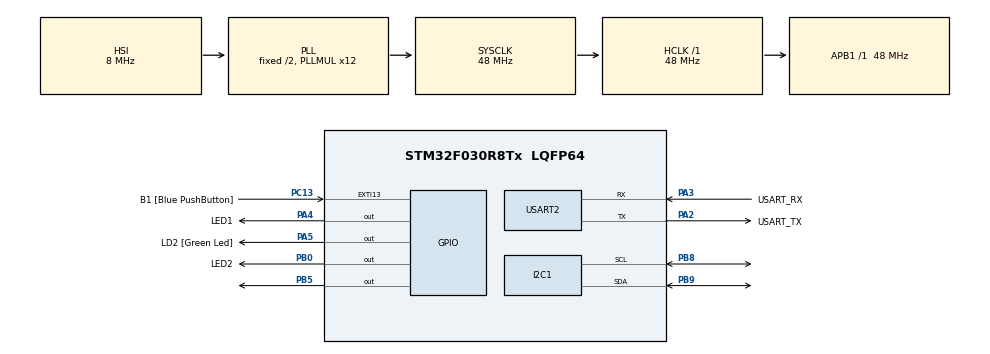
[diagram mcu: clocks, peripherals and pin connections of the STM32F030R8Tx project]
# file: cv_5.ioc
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Dma.Request0=USART2_RX
Dma.USART2_RX.0.Direction=DMA_PERIPH_TO_MEMORY
Dma.USART2_RX.0.Instance=DMA1_Channel5
Dma.USART2_RX.0.MemDataAlignment=DMA_MDATAALIGN_BYTE
Dma.USART2_RX.0.MemInc=DMA_MINC_ENABLE
Dma.USART2_RX.0.Mode=DMA_CIRCULAR
Dma.USART2_RX.0.PeriphDataAlignment=DMA_PDATAALIGN_BYTE
Dma.USART2_RX.0.PeriphInc=DMA_PINC_DISABLE
Dma.USART2_RX.0.Priority=DMA_PRIORITY_LOW
Mcu.Family=STM32F0
Mcu.Name=STM32F030R8Tx
Mcu.Package=LQFP64
NVIC.DMA1_Channel4_5_IRQn=true\:0\:0\:false\:false\:true\:false\:true\:true
PA13.GPIO_Label=TMS
PA13.Mode=Serial_Wire
PA13.Signal=SYS_SWDIO
PA14.GPIO_Label=TCK
PA14.Mode=Serial_Wire
PA14.Signal=SYS_SWCLK
PA2.GPIO_Label=USART_TX
PA2.GPIO_Mode=GPIO_MODE_AF_PP
PA2.GPIO_PuPd=GPIO_NOPULL
PA2.GPIO_Speed=GPIO_SPEED_FREQ_LOW
PA2.Mode=Asynchronous
PA2.Signal=USART2_TX
PA3.GPIO_Label=USART_RX
PA3.GPIO_Mode=GPIO_MODE_AF_PP
PA3.GPIO_PuPd=GPIO_NOPULL
PA3.GPIO_Speed=GPIO_SPEED_FREQ_LOW
PA3.Mode=Asynchronous
PA3.Signal=USART2_RX
PA4.GPIO_Label=LED1
PA4.Signal=GPIO_Output
PA5.GPIO_Label=LD2 [Green Led]
PA5.GPIO_Mode=GPIO_MODE_OUTPUT_PP
PA5.GPIO_PuPd=GPIO_NOPULL
PA5.GPIO_Speed=GPIO_SPEED_FREQ_LOW
PA5.Signal=GPIO_Output
PB0.GPIO_Label=LED2
PB0.Signal=GPIO_Output
PB5.Signal=GPIO_Output
PB8.Mode=I2C
PB8.Signal=I2C1_SCL
PB9.Mode=I2C
PB9.Signal=I2C1_SDA
PC13.GPIO_Label=B1 [Blue PushButton]
PC13.GPIO_ModeDefaultEXTI=GPIO_MODE_IT_FALLING
PC13.Signal=GPXTI13
PC14-OSC32_IN.Mode=LSE-External-Oscillator
PC14-OSC32_IN.Signal=RCC_OSC32_IN
PC15-OSC32_OUT.Mode=LSE-External-Oscillator
PC15-OSC32_OUT.Signal=RCC_OSC32_OUT
PF0-OSC_IN.Mode=HSE-External-Clock-Source
PF0-OSC_IN.Signal=RCC_OSC_IN
PF1-OSC_OUT.Signal=RCC_OSC_OUT
ProjectManager.HeapSize=0x200
ProjectManager.StackSize=0x400
ProjectManager.TargetToolchain=STM32CubeIDE
RCC.AHBFreq_Value=48000000
RCC.APB1Freq_Value=48000000
RCC.APB1TimFreq_Value=48000000
RCC.HCLKFreq_Value=48000000
RCC.PLLMUL=RCC_PLL_MUL12
RCC.SYSCLKFreq_VALUE=48000000
RCC.SYSCLKSource=RCC_SYSCLKSOURCE_PLLCLK
USART2.VirtualMode-Asynchronous=VM_ASYNC
board=NUCLEO-F030R8

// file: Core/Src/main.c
/* USER CODE BEGIN Header */
/**
  ******************************************************************************
  * @file           : main.c
  * @brief          : Main program body
  ******************************************************************************
  * @attention
  *
  * Copyright (c) 2022 STMicroelectronics.
  * All rights reserved.
  *
  * This software is licensed under terms that can be found in the LICENSE file
  * in the root directory of this software component.
  * If no LICENSE file comes with this software, it is provided AS-IS.
  *
  ******************************************************************************
  */
/* USER CODE END Header */
#include "main.h"

/* USER CODE BEGIN Includes */

#include "stdio.h" // to be able to use printf
#include "string.h" // to be able to work with strings
#include "stdlib.h" // to be able to use the function atoi()

/* USER CODE END Includes */

/* USER CODE BEGIN PD */

#define RX_BUFFER_LEN 64
#define uart_rx_write_ptr (RX_BUFFER_LEN - hdma_usart2_rx.Instance->CNDTR) // pointer pointing to the place in memory, where the last write was performed
#define CMD_BUFFER_LEN 256 // length of the support buffer
#define EEPROM_ADDR 0xA0
#define read_num_of_bytes 16
/* USER CODE END PD */

I2C_HandleTypeDef hi2c1;

UART_HandleTypeDef huart2;
DMA_HandleTypeDef hdma_usart2_rx;

/* USER CODE BEGIN PV */

static uint8_t uart_rx_buf[RX_BUFFER_LEN];
static volatile uint16_t uart_rx_read_ptr = 0; // pointer used to read data

/* USER CODE END PV */

void SystemClock_Config(void);
static void MX_GPIO_Init(void);
static void MX_DMA_Init(void);
static void MX_USART2_UART_Init(void);
static void MX_I2C1_Init(void);

/* USER CODE BEGIN 0 */

int _write(int file, char const *buf, int n) // strong function, tells the stdio library, where to print data to
{
	/* stdout redirection to UART2 */
	HAL_UART_Transmit(&huart2, (uint8_t*)(buf), n, HAL_MAX_DELAY);
	return n;
}

static void uart_process_command (char *cmd)
{
	printf("Prijato: %s\n", cmd); // sends and processes data \n is for the Termite to show us the data
	char *token;
	token = strtok(cmd, " "); // strtok -> cmd is a pointer to the beginning of the buffer, second parameter is a string with a list of words separating parameters,
						      // if it fins the parameter, it return a pointer to the word before the parameter

	if (strcasecmp(token, "HELLO") == 0) // compares a string with another string, case insensitive
	{
		printf("Komunikace OK\n");
	}
	else if (strcasecmp(token, "LED1") == 0)
	{
		token = strtok(NULL, " "); // if the first parameter is NULL, continue, where left off the last time (to return the next string before the separating parameter)
		if (strcasecmp(token, "ON") == 0) HAL_GPIO_WritePin(GPIOA, LED1_Pin, 1); // if the string says "led1 on", turn it on, if it says led1 "off", turn it off
			else if (strcasecmp(token, "OFF") == 0)
			{
				HAL_GPIO_WritePin(GPIOA, LED1_Pin, 0);
				printf("OK\n");
			}
	}
	else if (strcasecmp(token, "LED2") == 0)
	{
		token = strtok(NULL, " "); // if the first parameter is NULL, continue, where left off the last time (to return the next string before the separating parameter)
		if (strcasecmp(token, "ON") == 0) HAL_GPIO_WritePin(GPIOB, LED2_Pin, 1); // if the string says "led2 on", turn it on, if it says led2 "off", turn it off
			else if (strcasecmp(token, "OFF") == 0)
			{
				HAL_GPIO_WritePin(GPIOB, LED2_Pin, 0);
				printf("OK\n");
			}
	}
	else if (strcasecmp(token, "STATUS") == 0) // if the string says "status", return the status of both leds
	{
		if(HAL_GPIO_ReadPin(GPIOA, LED1_Pin)) printf("LED1 is turned on\n");
		else printf("LED1 is turned off\n");
		if(HAL_GPIO_ReadPin(GPIOB, LED2_Pin)) printf("LED2 is turned on\n");
		else printf("LED2 is turned off\n");
	}
	else if (strcasecmp(token, "READ") == 0) // if the first parameter is READ,
	{
		static uint16_t addr = 0;
		static uint8_t value = 0;
		token = strtok(NULL, " ");
		addr = atoi(token);

		HAL_I2C_Mem_Read(&hi2c1, EEPROM_ADDR, addr, I2C_MEMADD_SIZE_16BIT, &value, 1, 1000); // bus name, device address, memory address, memory indexing method, where to save the read data, number of bytes to read, timeout
		while (HAL_I2C_IsDeviceReady(&hi2c1, EEPROM_ADDR, 300, 1000) == HAL_TIMEOUT) {} // wait for the EEPROM operation to be completed

		printf("On position 0x%04X in memory data 0x%02X is located\n", addr, value);
	}
	else if (strcasecmp(token, "WRITE") == 0) // if the first parameter is WRITE,
	{
		static uint16_t addr = 0;
		static uint8_t value = 0;
		token = strtok(NULL, " "); // read address
		addr = atoi(token);
		token = strtok(NULL, " "); // read value to be written into the chosen address
		value = atoi(token);

		HAL_I2C_Mem_Write(&hi2c1, EEPROM_ADDR, addr, I2C_MEMADD_SIZE_16BIT, &value, 1, 1000); // bus name, device address, memory address, memory indexing method, where to save the read data, number of bytes to read, timeout
		while (HAL_I2C_IsDeviceReady(&hi2c1, EEPROM_ADDR, 300, 1000) == HAL_TIMEOUT) {} // wait for the EEPROM operation to be completed

		printf("OK\n");
	}
	else if (strcasecmp(token, "DUMP") == 0) // if the first parameter is DUMP, read the first 16 bytes of data from the EEPROM
	{
		static uint8_t value = 0;

		for(uint8_t i = 0; i < read_num_of_bytes; i++) // increments through all of the desired addresses
		{
			HAL_I2C_Mem_Read(&hi2c1, EEPROM_ADDR, i, I2C_MEMADD_SIZE_16BIT, &value, 1, 1000); // bus name, device address, memory address, memory indexing method, where to save the read data, number of bytes to read, timeout
			while (HAL_I2C_IsDeviceReady(&hi2c1, EEPROM_ADDR, 300, 1000) == HAL_TIMEOUT) {} // wait for the EEPROM operation to be completed

			if ((i + 1) % 8 == 0) printf("%02X \n", value); // separate rows after 8 bytes
			else printf("%02X ", value);
		}

	}

}

static void uart_byte_available(uint8_t c)
{
	static uint16_t cnt;
	static char data[CMD_BUFFER_LEN]; // reads data from system buffer, to make sure, the beginning of the data will be at the beginning of the buffer
	if (cnt < CMD_BUFFER_LEN && c >= 32 && c <= 126) data[cnt++] = c; // checks if we're still inside of the buffer & if the inside of the buffer is a printable character from ASCII table
	if ((c == '\n' || c == '\r') && cnt > 0) // checks if the buffer content is a new line (the second condition is for Linux - in case some idiot actually uses it)
	{
		data[cnt] = '\0'; // ends the character
		uart_process_command(data); // data processing
		cnt = 0; // write the pointer to zero
	}
}

/* USER CODE END 0 */

int main(void)
{

  /* MCU Configuration--------------------------------------------------------*/

  /* Reset of all peripherals, Initializes the Flash interface and the Systick. */
  HAL_Init();

  /* Configure the system clock */
  SystemClock_Config();

  /* Initialize all configured peripherals */
  MX_GPIO_Init();
  MX_DMA_Init();
  MX_USART2_UART_Init();
  MX_I2C1_Init();
  /* USER CODE BEGIN 2 */

  HAL_UART_Receive_DMA(&huart2, uart_rx_buf, RX_BUFFER_LEN); // activate receive buffer

  /* USER CODE END 2 */

  /* Infinite loop */
  /* USER CODE BEGIN WHILE */
  while (1)
  {

	/*uint8_t b = uart_rx_buf;
	HAL_UART_Receive(&huart2, &c, 1, HAL_MAX_DELAY); // stupid approach, permanently sits here, does nothing else
	HAL_UART_Transmit(&huart2, &c, 1, HAL_MAX_DELAY);*/
	while (uart_rx_read_ptr != uart_rx_write_ptr)
	{
		uint8_t b = uart_rx_buf[uart_rx_read_ptr];
		if (++uart_rx_read_ptr >= RX_BUFFER_LEN) uart_rx_read_ptr = 0; // increase read pointer
		uart_byte_available(b); // process every received byte with the RX state machine
	}
    /* USER CODE END WHILE */

  }
}

void SystemClock_Config(void)
{
  RCC_OscInitTypeDef RCC_OscInitStruct = {0};
  RCC_ClkInitTypeDef RCC_ClkInitStruct = {0};
  RCC_PeriphCLKInitTypeDef PeriphClkInit = {0};

  /** Initializes the RCC Oscillators according to the specified parameters
  * in the RCC_OscInitTypeDef structure.
  */
  RCC_OscInitStruct.OscillatorType = RCC_OSCILLATORTYPE_HSI;
  RCC_OscInitStruct.HSIState = RCC_HSI_ON;
  RCC_OscInitStruct.HSICalibrationValue = RCC_HSICALIBRATION_DEFAULT;
  RCC_OscInitStruct.PLL.PLLState = RCC_PLL_ON;
  RCC_OscInitStruct.PLL.PLLSource = RCC_PLLSOURCE_HSI;
  RCC_OscInitStruct.PLL.PLLMUL = RCC_PLL_MUL12;
  RCC_OscInitStruct.PLL.PREDIV = RCC_PREDIV_DIV1;
  if (HAL_RCC_OscConfig(&RCC_OscInitStruct) != HAL_OK)
  {
    Error_Handler();
  }

  /** Initializes the CPU, AHB and APB buses clocks
  */
  RCC_ClkInitStruct.ClockType = RCC_CLOCKTYPE_HCLK|RCC_CLOCKTYPE_SYSCLK
                              |RCC_CLOCKTYPE_PCLK1;
  RCC_ClkInitStruct.SYSCLKSource = RCC_SYSCLKSOURCE_PLLCLK;
  RCC_ClkInitStruct.AHBCLKDivider = RCC_SYSCLK_DIV1;
  RCC_ClkInitStruct.APB1CLKDivider = RCC_HCLK_DIV1;

  if (HAL_RCC_ClockConfig(&RCC_ClkInitStruct, FLASH_LATENCY_1) != HAL_OK)
  {
    Error_Handler();
  }
  PeriphClkInit.PeriphClockSelection = RCC_PERIPHCLK_I2C1;
  PeriphClkInit.I2c1ClockSelection = RCC_I2C1CLKSOURCE_HSI;
  if (HAL_RCCEx_PeriphCLKConfig(&PeriphClkInit) != HAL_OK)
  {
    Error_Handler();
  }
}

static void MX_I2C1_Init(void)
{

  hi2c1.Instance = I2C1;
  hi2c1.Init.Timing = 0x2000090E;
  hi2c1.Init.OwnAddress1 = 0;
  hi2c1.Init.AddressingMode = I2C_ADDRESSINGMODE_7BIT;
  hi2c1.Init.DualAddressMode = I2C_DUALADDRESS_DISABLE;
  hi2c1.Init.OwnAddress2 = 0;
  hi2c1.Init.OwnAddress2Masks = I2C_OA2_NOMASK;
  hi2c1.Init.GeneralCallMode = I2C_GENERALCALL_DISABLE;
  hi2c1.Init.NoStretchMode = I2C_NOSTRETCH_DISABLE;
  if (HAL_I2C_Init(&hi2c1) != HAL_OK)
  {
    Error_Handler();
  }

  /** Configure Analogue filter
  */
  if (HAL_I2CEx_ConfigAnalogFilter(&hi2c1, I2C_ANALOGFILTER_ENABLE) != HAL_OK)
  {
    Error_Handler();
  }

  /** Configure Digital filter
  */
  if (HAL_I2CEx_ConfigDigitalFilter(&hi2c1, 0) != HAL_OK)
  {
    Error_Handler();
  }

}

static void MX_USART2_UART_Init(void)
{

  huart2.Instance = USART2;
  huart2.Init.BaudRate = 38400;
  huart2.Init.WordLength = UART_WORDLENGTH_8B;
  huart2.Init.StopBits = UART_STOPBITS_1;
  huart2.Init.Parity = UART_PARITY_NONE;
  huart2.Init.Mode = UART_MODE_TX_RX;
  huart2.Init.HwFlowCtl = UART_HWCONTROL_NONE;
  huart2.Init.OverSampling = UART_OVERSAMPLING_16;
  huart2.Init.OneBitSampling = UART_ONE_BIT_SAMPLE_DISABLE;
  huart2.AdvancedInit.AdvFeatureInit = UART_ADVFEATURE_NO_INIT;
  if (HAL_UART_Init(&huart2) != HAL_OK)
  {
    Error_Handler();
  }

}

static void MX_DMA_Init(void)
{

  /* DMA controller clock enable */
  __HAL_RCC_DMA1_CLK_ENABLE();

  /* DMA interrupt init */
  /* DMA1_Channel4_5_IRQn interrupt configuration */
  HAL_NVIC_SetPriority(DMA1_Channel4_5_IRQn, 0, 0);
  HAL_NVIC_EnableIRQ(DMA1_Channel4_5_IRQn);

}

static void MX_GPIO_Init(void)
{
  GPIO_InitTypeDef GPIO_InitStruct = {0};

  /* GPIO Ports Clock Enable */
  __HAL_RCC_GPIOC_CLK_ENABLE();
  __HAL_RCC_GPIOF_CLK_ENABLE();
  __HAL_RCC_GPIOA_CLK_ENABLE();
  __HAL_RCC_GPIOB_CLK_ENABLE();

  /*Configure GPIO pin Output Level */
  HAL_GPIO_WritePin(GPIOA, GPIO_PIN_4|GPIO_PIN_5, GPIO_PIN_RESET);

  /*Configure GPIO pin Output Level */
  HAL_GPIO_WritePin(GPIOB, GPIO_PIN_0|GPIO_PIN_5, GPIO_PIN_RESET);

  /*Configure GPIO pin : PC13 */
  GPIO_InitStruct.Pin = GPIO_PIN_13;
  GPIO_InitStruct.Mode = GPIO_MODE_IT_FALLING;
  GPIO_InitStruct.Pull = GPIO_NOPULL;
  HAL_GPIO_Init(GPIOC, &GPIO_InitStruct);

  /*Configure GPIO pins : PA4 PA5 */
  GPIO_InitStruct.Pin = GPIO_PIN_4|GPIO_PIN_5;
  GPIO_InitStruct.Mode = GPIO_MODE_OUTPUT_PP;
  GPIO_InitStruct.Pull = GPIO_NOPULL;
  GPIO_InitStruct.Speed = GPIO_SPEED_FREQ_LOW;
  HAL_GPIO_Init(GPIOA, &GPIO_InitStruct);

  /*Configure GPIO pins : PB0 PB5 */
  GPIO_InitStruct.Pin = GPIO_PIN_0|GPIO_PIN_5;
  GPIO_InitStruct.Mode = GPIO_MODE_OUTPUT_PP;
  GPIO_InitStruct.Pull = GPIO_NOPULL;
  GPIO_InitStruct.Speed = GPIO_SPEED_FREQ_LOW;
  HAL_GPIO_Init(GPIOB, &GPIO_InitStruct);

}

void Error_Handler(void)
{
  __disable_irq();
  while (1)
  {
  }
}
